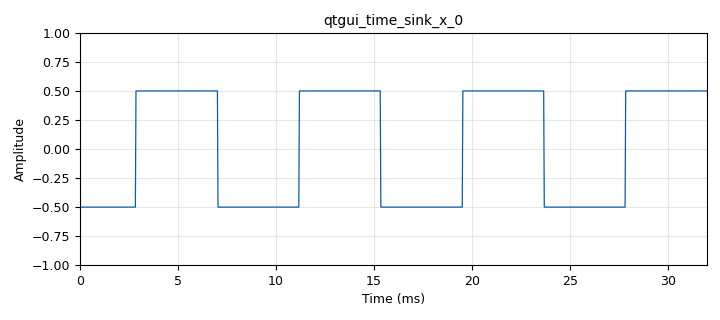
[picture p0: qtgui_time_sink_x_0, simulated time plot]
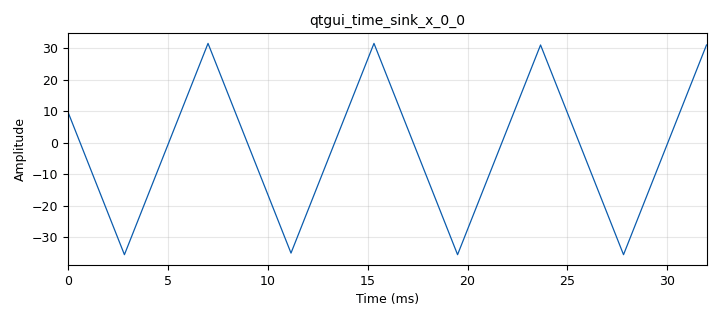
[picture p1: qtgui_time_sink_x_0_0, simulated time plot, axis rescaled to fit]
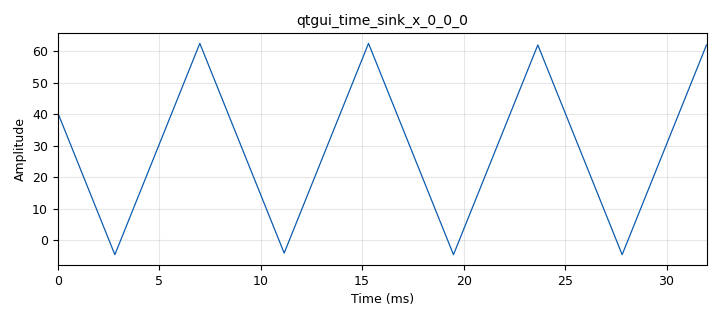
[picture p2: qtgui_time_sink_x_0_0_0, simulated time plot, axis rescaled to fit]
options:
  parameters:
    generate_options: qt_gui
    id: untitled
    output_language: python
    title: Not titled yet
  states: {}

blocks:
- name: samp_rate
  id: variable
  parameters:
    value: '32000'
  states: {}
- name: analog_sig_source_x_0
  id: analog_sig_source_x
  parameters:
    amp: '1'
    freq: '120'
    offset: '-0.5'
    phase: '0'
    samp_rate: samp_rate
    type: float
    waveform: analog.GR_SQR_WAVE
  states: {}
- name: blocks_throttle2_0
  id: blocks_throttle2
  parameters:
    samples_per_second: samp_rate
    type: float
  states: {}
- name: epy_block_0
  id: epy_block
  parameters:
    _source_code: |-
      import numpy as np
      from gnuradio import gr

      class blk(gr.sync_block): 
          def __init__(self, example_param=1.0):
              gr.sync_block.__init__(
                  self,
                  name='e_Acum',
                  in_sig=[np.float32],
                  out_sig=[np.float32]
              )
          
          def work(self,input_items,output_items):
              x = input_items[0]  
              y0 = output_items[0]  

              y0[:] = np.cumsum(x)

              return len(y0)
    example_param: '1.0'
  states: {}
- name: epy_block_1
  id: epy_block
  parameters:
    _source_code: |-
      import numpy as np
      from gnuradio import gr

      class blk(gr.sync_block): 

          def __init__(self, example_param=2.0):
              gr.sync_block.__init__(
                  self,
                  name='e_Diff',
                  in_sig=[np.float32],
                  out_sig=[np.float32]
              )
              self.e_Acum = 0

          def work(self,input_items,output_items):
              x = input_items[0]  
              y0 = output_items[0]  
              N = len(x)
              diff = np.cumsum(x) - self.e_Acum 
              self.e_Acum = diff[N-1]
              y0[:] = diff 
              return len(y0)
    example_param: '2.0'
  states: {}
- name: qtgui_time_sink_x_0
  id: qtgui_time_sink_x
  parameters:
    size: '1024'
    srate: samp_rate
    type: float
  states: {}
- name: qtgui_time_sink_x_0_0
  id: qtgui_time_sink_x
  parameters:
    size: '1024'
    srate: samp_rate
    type: float
  states: {}
- name: qtgui_time_sink_x_0_0_0
  id: qtgui_time_sink_x
  parameters:
    size: '1024'
    srate: samp_rate
    type: float
  states: {}

connections:
- [analog_sig_source_x_0, '0', blocks_throttle2_0, '0']
- [blocks_throttle2_0, '0', epy_block_0, '0']
- [blocks_throttle2_0, '0', epy_block_1, '0']
- [blocks_throttle2_0, '0', qtgui_time_sink_x_0, '0']
- [epy_block_0, '0', qtgui_time_sink_x_0_0, '0']
- [epy_block_1, '0', qtgui_time_sink_x_0_0_0, '0']

metadata:
  file_format: 1
  grc_version: 3.10.11.0
